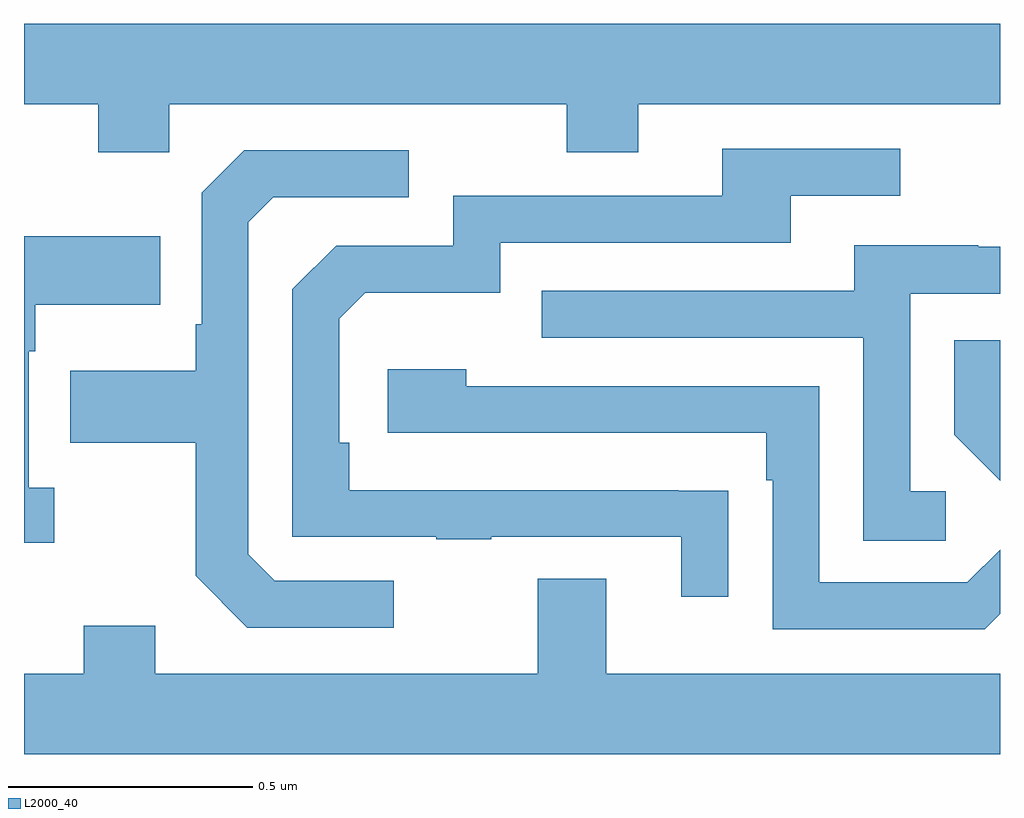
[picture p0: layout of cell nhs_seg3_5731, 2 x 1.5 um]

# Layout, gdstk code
import gdstk
lib = gdstk.Library(unit=1e-6, precision=1e-09)
def P(c, l, *ps):  # polygons
    for p in ps: c.add(gdstk.Polygon(p, *l))
L2000_40 = (2000, 40)

nhs_seg3_5731 = lib.new_cell('nhs_seg3_5731')
P(nhs_seg3_5731, L2000_40, [(182.298,718.232),(183.112,718.232),(183.112,718.133),(183.259,718.133),(183.259,718.232),(184,718.232),(184,718.396),(182,718.396),(182,718.232),(182.152,718.232),(182.152,718.133),(182.298,718.133)],
  [(183.443,717.44),(183.341,717.44),(183.341,717.441),(182.666,717.441),(182.666,717.538),(182.646,717.538),(182.646,717.792),(182.699,717.845),(182.976,717.845),(182.976,717.948),(183.571,717.948),(183.571,718.044),(183.796,718.044),(183.796,718.14),(183.431,718.14),(183.431,718.044),(182.88,718.044),(182.88,717.942),(182.64,717.942),(182.55,717.852),(182.55,717.345),(182.845,717.345),(182.845,717.34),(182.957,717.34),(182.957,717.345),(183.347,717.345),(183.347,717.222),(183.443,717.222)],
  [(182.758,717.255),(182.514,717.255),(182.46,717.309),(182.46,717.99),(182.511,718.041),(182.788,718.041),(182.788,718.137),(182.451,718.137),(182.364,718.05),(182.364,717.781),(182.352,717.781),(182.352,717.685),(182.095,717.685),(182.095,717.538),(182.352,717.538),(182.352,717.265),(182.457,717.159),(182.758,717.159)],
  [(182.062,717.446),(182.01,717.446),(182.01,717.725),(182.023,717.725),(182.023,717.821),(182.279,717.821),(182.279,717.961),(182,717.961),(182,717.333),(182.062,717.333)],
  [(183.889,717.438),(183.816,717.438),(183.816,717.843),(184,717.843),(184,717.939),(183.955,717.939),(183.955,717.943),(183.701,717.943),(183.701,717.849),(183.061,717.849),(183.061,717.753),(183.72,717.753),(183.72,717.337),(183.889,717.337)],
  [(184,717.748),(183.906,717.748),(183.906,717.554),(184,717.46)],
  [(184,717.187),(184,717.319),(183.933,717.252),(183.63,717.252),(183.63,717.654),(182.906,717.654),(182.906,717.688),(182.745,717.688),(182.745,717.558),(183.521,717.558),(183.521,717.461),(183.534,717.461),(183.534,717.156),(183.969,717.156)],
  [(184,717.064),(183.193,717.064),(183.193,717.259),(183.053,717.259),(183.053,717.064),(182.269,717.064),(182.269,717.163),(182.122,717.163),(182.122,717.064),(182,717.064),(182,716.9),(184,716.9)])

lib.write_gds('nhs_seg3_5731.gds')
